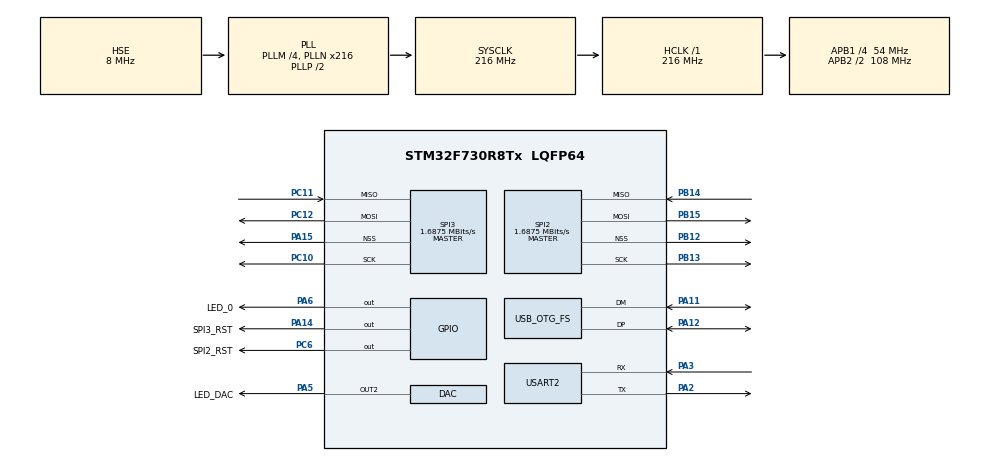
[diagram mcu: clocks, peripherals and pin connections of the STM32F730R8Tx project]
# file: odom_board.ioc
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CORTEX_M7.ART_ACCLERATOR_ENABLE=1
CORTEX_M7.CPU_DCache=Enabled
CORTEX_M7.CPU_ICache=Enabled
CORTEX_M7.FlashInterface=AXI_Enabled
CORTEX_M7.PREFETCH_ENABLE=1
DAC.DAC_Trigger2=DAC_TRIGGER_NONE
Dma.Request0=SPI2_RX
Dma.Request1=USART2_TX
Dma.Request2=USART2_RX
Dma.Request3=SPI3_RX
Dma.SPI2_RX.0.Direction=DMA_PERIPH_TO_MEMORY
Dma.SPI2_RX.0.FIFOMode=DMA_FIFOMODE_DISABLE
Dma.SPI2_RX.0.Instance=DMA1_Stream3
Dma.SPI2_RX.0.MemDataAlignment=DMA_MDATAALIGN_BYTE
Dma.SPI2_RX.0.MemInc=DMA_MINC_ENABLE
Dma.SPI2_RX.0.Mode=DMA_NORMAL
Dma.SPI2_RX.0.PeriphDataAlignment=DMA_PDATAALIGN_BYTE
Dma.SPI2_RX.0.PeriphInc=DMA_PINC_DISABLE
Dma.SPI2_RX.0.Priority=DMA_PRIORITY_LOW
Dma.SPI3_RX.3.Direction=DMA_PERIPH_TO_MEMORY
Dma.SPI3_RX.3.FIFOMode=DMA_FIFOMODE_DISABLE
Dma.SPI3_RX.3.Instance=DMA1_Stream0
Dma.SPI3_RX.3.MemDataAlignment=DMA_MDATAALIGN_BYTE
Dma.SPI3_RX.3.MemInc=DMA_MINC_ENABLE
Dma.SPI3_RX.3.Mode=DMA_NORMAL
Dma.SPI3_RX.3.PeriphDataAlignment=DMA_PDATAALIGN_BYTE
Dma.SPI3_RX.3.PeriphInc=DMA_PINC_DISABLE
Dma.SPI3_RX.3.Priority=DMA_PRIORITY_LOW
Dma.USART2_RX.2.Direction=DMA_PERIPH_TO_MEMORY
Dma.USART2_RX.2.FIFOMode=DMA_FIFOMODE_DISABLE
Dma.USART2_RX.2.Instance=DMA1_Stream5
Dma.USART2_RX.2.MemDataAlignment=DMA_MDATAALIGN_BYTE
Dma.USART2_RX.2.MemInc=DMA_MINC_ENABLE
Dma.USART2_RX.2.Mode=DMA_NORMAL
Dma.USART2_RX.2.PeriphDataAlignment=DMA_PDATAALIGN_BYTE
Dma.USART2_RX.2.PeriphInc=DMA_PINC_DISABLE
Dma.USART2_RX.2.Priority=DMA_PRIORITY_MEDIUM
Dma.USART2_TX.1.Direction=DMA_MEMORY_TO_PERIPH
Dma.USART2_TX.1.FIFOMode=DMA_FIFOMODE_DISABLE
Dma.USART2_TX.1.Instance=DMA1_Stream6
Dma.USART2_TX.1.MemDataAlignment=DMA_MDATAALIGN_BYTE
Dma.USART2_TX.1.MemInc=DMA_MINC_ENABLE
Dma.USART2_TX.1.Mode=DMA_NORMAL
Dma.USART2_TX.1.PeriphDataAlignment=DMA_PDATAALIGN_BYTE
Dma.USART2_TX.1.PeriphInc=DMA_PINC_DISABLE
Dma.USART2_TX.1.Priority=DMA_PRIORITY_LOW
Mcu.Family=STM32F7
Mcu.Name=STM32F730R8Tx
Mcu.Package=LQFP64
NVIC.DMA1_Stream0_IRQn=true\:0\:0\:false\:false\:true\:false\:true\:true
NVIC.DMA1_Stream3_IRQn=true\:0\:0\:false\:false\:true\:false\:true\:true
NVIC.DMA1_Stream5_IRQn=true\:0\:0\:false\:false\:true\:false\:true\:true
NVIC.DMA1_Stream6_IRQn=true\:0\:0\:false\:false\:true\:false\:true\:true
NVIC.OTG_FS_IRQn=true\:0\:0\:false\:false\:true\:false\:true\:true
NVIC.PriorityGroup=NVIC_PRIORITYGROUP_4
NVIC.USART2_IRQn=true\:0\:0\:false\:false\:true\:true\:true\:true
PA11.Mode=Device_Only
PA11.Signal=USB_OTG_FS_DM
PA12.Mode=Device_Only
PA12.Signal=USB_OTG_FS_DP
PA14.GPIO_Label=SPI3_RST
PA14.Signal=GPIO_Output
PA15.Mode=NSS_Signal_Hard_Output
PA15.Signal=SPI3_NSS
PA2.Mode=Asynchronous
PA2.Signal=USART2_TX
PA3.Mode=Asynchronous
PA3.Signal=USART2_RX
PA5.GPIO_Label=LED_DAC
PA5.Signal=COMP_DAC2_group
PA6.GPIO_Label=LED_0
PA6.Signal=GPIO_Output
PB12.Mode=NSS_Signal_Hard_Output
PB12.Signal=SPI2_NSS
PB13.Mode=Full_Duplex_Master
PB13.Signal=SPI2_SCK
PB14.Mode=Full_Duplex_Master
PB14.Signal=SPI2_MISO
PB15.Mode=Full_Duplex_Master
PB15.Signal=SPI2_MOSI
PC10.Mode=Full_Duplex_Master
PC10.Signal=SPI3_SCK
PC11.Mode=Full_Duplex_Master
PC11.Signal=SPI3_MISO
PC12.Mode=Full_Duplex_Master
PC12.Signal=SPI3_MOSI
PC6.GPIO_Label=SPI2_RST
PC6.PinState=GPIO_PIN_RESET
PC6.Signal=GPIO_Output
PH0-OSC_IN.Mode=HSE-External-Oscillator
PH0-OSC_IN.Signal=RCC_OSC_IN
PH1-OSC_OUT.Mode=HSE-External-Oscillator
PH1-OSC_OUT.Signal=RCC_OSC_OUT
ProjectManager.HeapSize=0x400
ProjectManager.StackSize=0x8000
ProjectManager.TargetToolchain=Makefile
RCC.AHBFreq_Value=216000000
RCC.APB1CLKDivider=RCC_HCLK_DIV4
RCC.APB1Freq_Value=54000000
RCC.APB1TimFreq_Value=108000000
RCC.APB2CLKDivider=RCC_HCLK_DIV2
RCC.APB2Freq_Value=108000000
RCC.APB2TimFreq_Value=216000000
RCC.CortexFreq_Value=216000000
RCC.HCLKFreq_Value=216000000
RCC.HSE_VALUE=8000000
RCC.HSI_VALUE=16000000
RCC.LSE_VALUE=32768
RCC.PLLM=4
RCC.PLLN=216
RCC.PLLQ=9
RCC.SYSCLKFreq_VALUE=216000000
RCC.SYSCLKSource=RCC_SYSCLKSOURCE_PLLCLK
RCC.USBFreq_Value=48000000
RCC.VCOOutputFreq_Value=432000000
RCC.VDD_VALUE=3.3
SH.COMP_DAC2_group.0=DAC_OUT2,DAC_OUT2
SPI2.BaudRatePrescaler=SPI_BAUDRATEPRESCALER_32
SPI2.CLKPhase=SPI_PHASE_2EDGE
SPI2.CLKPolarity=SPI_POLARITY_HIGH
SPI2.CalculateBaudRate=1.6875 MBits/s
SPI2.DataSize=SPI_DATASIZE_8BIT
SPI2.Direction=SPI_DIRECTION_2LINES
SPI2.Mode=SPI_MODE_MASTER
SPI2.TIMode=SPI_TIMODE_DISABLE
SPI2.VirtualNSS=VM_NSSHARD
SPI2.VirtualType=VM_MASTER
SPI3.BaudRatePrescaler=SPI_BAUDRATEPRESCALER_32
SPI3.CLKPhase=SPI_PHASE_2EDGE
SPI3.CLKPolarity=SPI_POLARITY_HIGH
SPI3.CalculateBaudRate=1.6875 MBits/s
SPI3.DataSize=SPI_DATASIZE_8BIT
SPI3.Direction=SPI_DIRECTION_2LINES
SPI3.Mode=SPI_MODE_MASTER
SPI3.VirtualNSS=VM_NSSHARD
SPI3.VirtualType=VM_MASTER
USART2.SwapParam=ADVFEATURE_SWAP_ENABLE
USART2.VirtualMode-Asynchronous=VM_ASYNC
USB_DEVICE.CLASS_NAME_FS=CDC
USB_DEVICE.MANUFACTURER_STRING-CDC_FS=tensor-robotics
USB_DEVICE.PID_CDC_FS=0x0002
USB_DEVICE.PRODUCT_STRING_CDC_FS=OF_IMU
USB_DEVICE.USBD_MAX_NUM_INTERFACES-CDC_FS=1
USB_DEVICE.USBD_SELF_POWERED-CDC_FS=0
USB_DEVICE.VID-CDC_FS=0x1209
USB_DEVICE.VirtualMode-CDC_FS=Cdc
USB_DEVICE.VirtualModeFS=Cdc_FS
USB_OTG_FS.Sof_enable-Device_Only=DISABLE
USB_OTG_FS.VirtualMode=Device_Only
USB_OTG_FS.low_power_enable=DISABLE
USB_OTG_FS.lpm_enable=ENABLE
VP_CRC_VS_CRC.Mode=CRC_Activate
VP_RTC_VS_RTC_Activate.Mode=RTC_Enabled
VP_USB_DEVICE_VS_USB_DEVICE_CDC_FS.Mode=CDC_FS
board=custom

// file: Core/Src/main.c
/* USER CODE BEGIN Header */
/**
  ******************************************************************************
  * @file           : main.c
  * @brief          : Main program body
  ******************************************************************************
  * @attention
  *
  * <h2><center>&copy; Copyright (c) 2020 STMicroelectronics.
  * All rights reserved.</center></h2>
  *
  * This software component is licensed by ST under Ultimate Liberty license
  * SLA0044, the "License"; You may not use this file except in compliance with
  * the License. You may obtain a copy of the License at:
  *                             www.st.com/SLA0044
  *
  ******************************************************************************
  */
/* USER CODE END Header */
#include "main.h"
#include "crc.h"
#include "dac.h"
#include "dma.h"
#include "rtc.h"
#include "spi.h"
#include "usart.h"
#include "usb_device.h"
#include "gpio.h"

/* USER CODE BEGIN Includes */
#include "adns3080.h"
#include "ser_imu.h"
// #include "lsm9ds1_reg.h"
// #include "MadgwickAHRS.h"
// #include "MahonyAHRS.h"

/* USER CODE END Includes */

void SystemClock_Config(void);

ODOM_t odom;

int main(void)
{

  /* Enable I-Cache---------------------------------------------------------*/
  SCB_EnableICache();

  /* Enable D-Cache---------------------------------------------------------*/
  SCB_EnableDCache();

  /* MCU Configuration--------------------------------------------------------*/

  /* Reset of all peripherals, Initializes the Flash interface and the Systick. */
  HAL_Init();

  /* Configure the system clock */
  SystemClock_Config();

  /* Initialize all configured peripherals */
  MX_GPIO_Init();
  MX_DMA_Init();
  MX_SPI2_Init();
  MX_USB_DEVICE_Init();
  MX_DAC_Init();
  MX_RTC_Init();
  MX_CRC_Init();
  MX_USART2_UART_Init();
  MX_SPI3_Init();
  /* USER CODE BEGIN 2 */

  LL_DAC_Enable(DAC, LL_DAC_CHANNEL_2);
  LL_DAC_ConvertData12RightAligned(DAC1, LL_DAC_CHANNEL_2, 100);

  /* USER CODE END 2 */

  /* Infinite loop */
  /* USER CODE BEGIN WHILE */

  uint8_t buf[128];
  int len;

  adns3080_init();
  ser_imu_enable();
  odom.mode = MODE_IDLE;

  for (;;)
  {
    /* USER CODE END WHILE */

    /* USER CODE BEGIN 3 */

    if (1)
    {
      cdc_rx_tick();
    }

    switch (odom.mode)
    {
    case MODE_ODOM:

      if (ser_imu_frame_flag)
      {
        ser_imu_frame_flag = 0;

        static uint32_t last_tick;
        uint16_t tick_delta = HAL_GetTick() - last_tick;
        last_tick = HAL_GetTick();

        int16_t accel[3], gyro[3], euler[3];
        ser_imu_get(accel, gyro, euler);

        motion_t m1, m2;
        adns3080_motion(&hspi2 ,&m1);
        adns3080_motion(&hspi3, &m2);

        // len = snprintf(buf, 128, "%d,%d,%d,%d,%d,%d,%d,%d,%d,%d,0x%02x,%d,%d,%d,%d,%d,%d\n", tick_delta, accel[0], accel[1], accel[2], gyro[0], gyro[1], gyro[2], euler[0], euler[1], euler[2], m1.motion, m1.dx, m1.dy, m1.squal, m1.shutter_upper, m1.shutter_lower, m1.max_pixel);
        len = snprintf(buf, 128, "%d,%d,%d,%d,%d,%d,%d,%d,%d,%d,0x%02x,%d,%d,%d,%d,%d,%d,0x%02x,%d,%d,%d,%d,%d,%d\n",
                                tick_delta, accel[0], accel[1], accel[2], gyro[0], gyro[1], gyro[2], euler[0], euler[1], euler[2],
                                m1.motion, m1.dx, m1.dy, m1.squal, m1.shutter_upper, m1.shutter_lower, m1.max_pixel,
                                m2.motion, m2.dx, m2.dy, m2.squal, m2.shutter_upper, m2.shutter_lower, m2.max_pixel
                                );
        // len = snprintf(buf, 128, "%d,%d,%d | %d,%d,%d | %d,%d,%d\n",
        //                         accel[0], accel[1], accel[2],
        //                         gyro[0], gyro[1], gyro[2],
        //                         euler[0], euler[1], euler[2]);
        CDC_Transmit_FS(buf, len);
        HAL_GPIO_TogglePin(LED_0_GPIO_Port, LED_0_Pin);

        // CDC_Transmit_FS(ser_imu_last_data, 22);
      }

      break;
    case MODE_IDLE:

      break;
    default:

      len = snprintf(buf, 64, "invalid odom mode: %d\n", odom.mode);
      CDC_Transmit_FS(buf, len);
      odom.mode = MODE_IDLE;

      break;
    }

    HAL_PWR_EnterSLEEPMode(PWR_LOWPOWERREGULATOR_ON, PWR_SLEEPENTRY_WFI);
  }
  /* USER CODE END 3 */
}

void SystemClock_Config(void)
{
  RCC_OscInitTypeDef RCC_OscInitStruct = {0};
  RCC_ClkInitTypeDef RCC_ClkInitStruct = {0};

  /** Configure the main internal regulator output voltage
  */
  __HAL_RCC_PWR_CLK_ENABLE();
  __HAL_PWR_VOLTAGESCALING_CONFIG(PWR_REGULATOR_VOLTAGE_SCALE1);

  /** Initializes the RCC Oscillators according to the specified parameters
  * in the RCC_OscInitTypeDef structure.
  */
  RCC_OscInitStruct.OscillatorType = RCC_OSCILLATORTYPE_LSI|RCC_OSCILLATORTYPE_HSE;
  RCC_OscInitStruct.HSEState = RCC_HSE_ON;
  RCC_OscInitStruct.LSIState = RCC_LSI_ON;
  RCC_OscInitStruct.PLL.PLLState = RCC_PLL_ON;
  RCC_OscInitStruct.PLL.PLLSource = RCC_PLLSOURCE_HSE;
  RCC_OscInitStruct.PLL.PLLM = 4;
  RCC_OscInitStruct.PLL.PLLN = 216;
  RCC_OscInitStruct.PLL.PLLP = RCC_PLLP_DIV2;
  RCC_OscInitStruct.PLL.PLLQ = 9;
  if (HAL_RCC_OscConfig(&RCC_OscInitStruct) != HAL_OK)
  {
    Error_Handler();
  }

  /** Activate the Over-Drive mode
  */
  if (HAL_PWREx_EnableOverDrive() != HAL_OK)
  {
    Error_Handler();
  }

  /** Initializes the CPU, AHB and APB buses clocks
  */
  RCC_ClkInitStruct.ClockType = RCC_CLOCKTYPE_HCLK|RCC_CLOCKTYPE_SYSCLK
                              |RCC_CLOCKTYPE_PCLK1|RCC_CLOCKTYPE_PCLK2;
  RCC_ClkInitStruct.SYSCLKSource = RCC_SYSCLKSOURCE_PLLCLK;
  RCC_ClkInitStruct.AHBCLKDivider = RCC_SYSCLK_DIV1;
  RCC_ClkInitStruct.APB1CLKDivider = RCC_HCLK_DIV4;
  RCC_ClkInitStruct.APB2CLKDivider = RCC_HCLK_DIV2;

  if (HAL_RCC_ClockConfig(&RCC_ClkInitStruct, FLASH_LATENCY_7) != HAL_OK)
  {
    Error_Handler();
  }
}

void Error_Handler(void)
{
}
